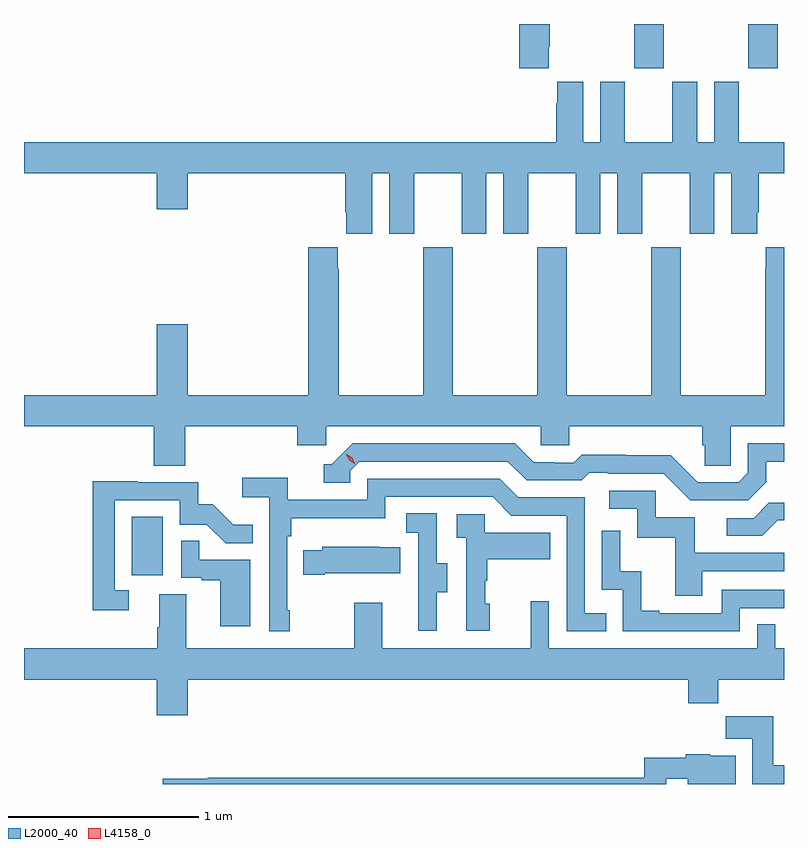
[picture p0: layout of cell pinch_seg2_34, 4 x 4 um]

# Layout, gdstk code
import gdstk
lib = gdstk.Library(unit=1e-6, precision=1e-09)
def R(c, l, rs):  # rectangles x0, y0, x1, y1
    for r in rs: c.add(gdstk.rectangle(r[:2], r[2:], *l))
def P(c, l, *ps):  # polygons
    for p in ps: c.add(gdstk.Polygon(p, *l))
L2000_40 = (2000, 40)
L4158_0 = (4158, 0)

pinch_seg2_34 = lib.new_cell('pinch_seg2_34')
R(pinch_seg2_34, L2000_40, [(1141.898,652.182,1142.062,652.489), (1144.543,654.849,1144.698,655.082), (1145.143,654.849,1145.298,655.082)])
P(pinch_seg2_34, L2000_40, [(1144.093,654.961),(1144.098,654.961),(1144.098,655.082),(1143.938,655.082),(1143.938,654.849),(1144.093,654.849)],
  [(1143.166,654.296),(1143.254,654.296),(1143.254,653.979),(1143.385,653.979),(1143.385,654.296),(1143.635,654.296),(1143.635,653.979),(1143.766,653.979),(1143.766,654.296),(1143.854,654.296),(1143.854,653.979),(1143.985,653.979),(1143.985,654.296),(1144.235,654.296),(1144.235,653.979),(1144.366,653.979),(1144.366,654.296),(1144.454,654.296),(1144.454,653.979),(1144.585,653.979),(1144.585,654.296),(1144.835,654.296),(1144.835,653.979),(1144.966,653.979),(1144.966,654.296),(1145.054,654.296),(1145.054,653.979),(1145.191,653.979),(1145.191,654.091),(1145.198,654.091),(1145.198,654.296),(1145.332,654.296),(1145.332,654.46),(1145.095,654.46),(1145.095,654.778),(1144.964,654.778),(1144.964,654.46),(1144.876,654.46),(1144.876,654.778),(1144.745,654.778),(1144.745,654.46),(1144.495,654.46),(1144.495,654.778),(1144.364,654.778),(1144.364,654.46),(1144.276,654.46),(1144.276,654.778),(1144.139,654.778),(1144.139,654.665),(1144.133,654.665),(1144.133,654.46),(1141.332,654.46),(1141.332,654.296),(1142.03,654.296),(1142.03,654.108),(1142.194,654.108),(1142.194,654.296),(1143.023,654.296),(1143.023,654.091),(1143.029,654.091),(1143.029,653.979),(1143.166,653.979)],
  [(1142.18,652.964),(1142.771,652.964),(1142.771,652.866),(1142.922,652.866),(1142.922,652.964),(1144.053,652.964),(1144.053,652.866),(1144.203,652.866),(1144.203,652.964),(1144.901,652.964),(1144.901,652.866),(1144.915,652.866),(1144.915,652.756),(1145.052,652.756),(1145.052,652.964),(1145.332,652.964),(1145.332,653.908),(1145.237,653.908),(1145.237,653.795),(1145.233,653.795),(1145.233,653.128),(1144.788,653.128),(1144.788,653.908),(1144.633,653.908),(1144.633,653.128),(1144.188,653.128),(1144.188,653.908),(1144.033,653.908),(1144.033,653.128),(1143.588,653.128),(1143.588,653.908),(1143.433,653.908),(1143.433,653.128),(1142.988,653.128),(1142.988,653.795),(1142.983,653.795),(1142.983,653.908),(1142.828,653.908),(1142.828,653.128),(1142.194,653.128),(1142.194,653.503),(1142.03,653.503),(1142.03,653.128),(1141.332,653.128),(1141.332,652.964),(1142.015,652.964),(1142.015,652.756),(1142.18,652.756)],
  [(1145.239,652.669),(1145.239,652.779),(1145.332,652.779),(1145.332,652.875),(1145.142,652.875),(1145.142,652.719),(1145.094,652.671),(1144.878,652.671),(1144.736,652.813),(1144.5,652.813),(1144.5,652.816),(1144.267,652.816),(1144.225,652.773),(1144.122,652.773),(1144.122,652.776),(1144.015,652.776),(1143.916,652.875),(1143.063,652.875),(1142.952,652.764),(1142.909,652.764),(1142.909,652.668),(1143.048,652.668),(1143.048,652.731),(1143.096,652.779),(1143.879,652.779),(1143.978,652.68),(1144.267,652.68),(1144.306,652.719),(1144.405,652.719),(1144.405,652.716),(1144.698,652.716),(1144.839,652.575),(1145.145,652.575)],
  [(1142.731,651.997),(1142.718,651.997),(1142.718,652.385),(1142.738,652.385),(1142.738,652.481),(1143.234,652.481),(1143.234,652.593),(1143.798,652.593),(1143.897,652.494),(1144.188,652.494),(1144.188,651.885),(1144.397,651.885),(1144.397,651.981),(1144.284,651.981),(1144.284,652.59),(1143.934,652.59),(1143.835,652.689),(1143.138,652.689),(1143.138,652.578),(1142.72,652.578),(1142.72,652.694),(1142.481,652.694),(1142.481,652.592),(1142.622,652.592),(1142.622,651.885),(1142.731,651.885)],
  [(1141.882,652.101),(1141.809,652.101),(1141.809,652.575),(1142.151,652.575),(1142.151,652.446),(1142.295,652.446),(1142.393,652.348),(1142.537,652.348),(1142.537,652.447),(1142.433,652.447),(1142.326,652.554),(1142.25,652.554),(1142.25,652.671),(1141.931,652.671),(1141.931,652.676),(1141.693,652.676),(1141.693,651.996),(1141.882,651.996)],
  [(1144.903,652.203),(1145.332,652.203),(1145.332,652.299),(1144.861,652.299),(1144.861,652.485),(1144.656,652.485),(1144.656,652.626),(1144.413,652.626),(1144.413,652.53),(1144.56,652.53),(1144.56,652.377),(1144.759,652.377),(1144.759,652.074),(1144.903,652.074)],
  [(1145.299,652.47),(1145.332,652.47),(1145.332,652.562),(1145.252,652.562),(1145.172,652.482),(1145.031,652.482),(1145.031,652.389),(1145.218,652.389)],
  [(1143.505,652.09),(1143.559,652.09),(1143.559,652.245),(1143.504,652.245),(1143.504,652.508),(1143.345,652.508),(1143.345,652.405),(1143.408,652.405),(1143.408,652.101),(1143.407,652.101),(1143.407,651.888),(1143.505,651.888)],
  [(1143.784,652.032),(1143.759,652.032),(1143.759,652.151),(1143.769,652.151),(1143.769,652.265),(1144.103,652.265),(1144.103,652.405),(1143.756,652.405),(1143.756,652.503),(1143.609,652.503),(1143.609,652.379),(1143.66,652.379),(1143.66,651.888),(1143.784,651.888)],
  [(1145.1,652.008),(1145.332,652.008),(1145.332,652.104),(1145.004,652.104),(1145.004,651.981),(1144.675,651.981),(1144.675,651.994),(1144.58,651.994),(1144.58,652.202),(1144.47,652.202),(1144.47,652.414),(1144.374,652.414),(1144.374,652.104),(1144.482,652.104),(1144.482,651.885),(1145.1,651.885)],
  [(1142.524,652.263),(1142.255,652.263),(1142.255,652.361),(1142.16,652.361),(1142.16,652.167),(1142.267,652.167),(1142.267,652.155),(1142.366,652.155),(1142.366,651.912),(1142.524,651.912)],
  [(1142.914,652.19),(1143.311,652.19),(1143.311,652.327),(1143.203,652.327),(1143.203,652.33),(1142.901,652.33),(1142.901,652.312),(1142.803,652.312),(1142.803,652.183),(1142.914,652.183)],
  [(1142.194,651.632),(1144.829,651.632),(1144.829,651.508),(1144.985,651.508),(1144.985,651.632),(1145.332,651.632),(1145.332,651.796),(1145.286,651.796),(1145.286,651.923),(1145.19,651.923),(1145.19,651.796),(1144.095,651.796),(1144.095,652.045),(1143.998,652.045),(1143.998,651.796),(1143.217,651.796),(1143.217,652.036),(1143.07,652.036),(1143.07,651.796),(1142.185,651.796),(1142.185,652.082),(1142.045,652.082),(1142.045,651.908),(1142.033,651.908),(1142.033,651.796),(1141.332,651.796),(1141.332,651.632),(1142.03,651.632),(1142.03,651.444),(1142.194,651.444)],
  [(1145.332,651.18),(1145.275,651.18),(1145.275,651.439),(1145.026,651.439),(1145.026,651.32),(1145.165,651.32),(1145.165,651.082),(1145.332,651.082)],
  [(1144.713,651.109),(1144.826,651.109),(1144.826,651.082),(1145.077,651.082),(1145.077,651.232),(1144.944,651.232),(1144.944,651.238),(1144.814,651.238),(1144.814,651.22),(1144.597,651.22),(1144.597,651.116),(1142.298,651.116),(1142.298,651.109),(1142.063,651.109),(1142.063,651.082),(1144.713,651.082)])
P(pinch_seg2_34, L4158_0, [(1143.074,652.767),(1143.044,652.787),(1143.028,652.819),(1143.028,652.82),(1143.028,652.82),(1143.059,652.8),(1143.074,652.768),(1143.074,652.767)])

lib.write_gds('pinch_seg2_34.gds')
